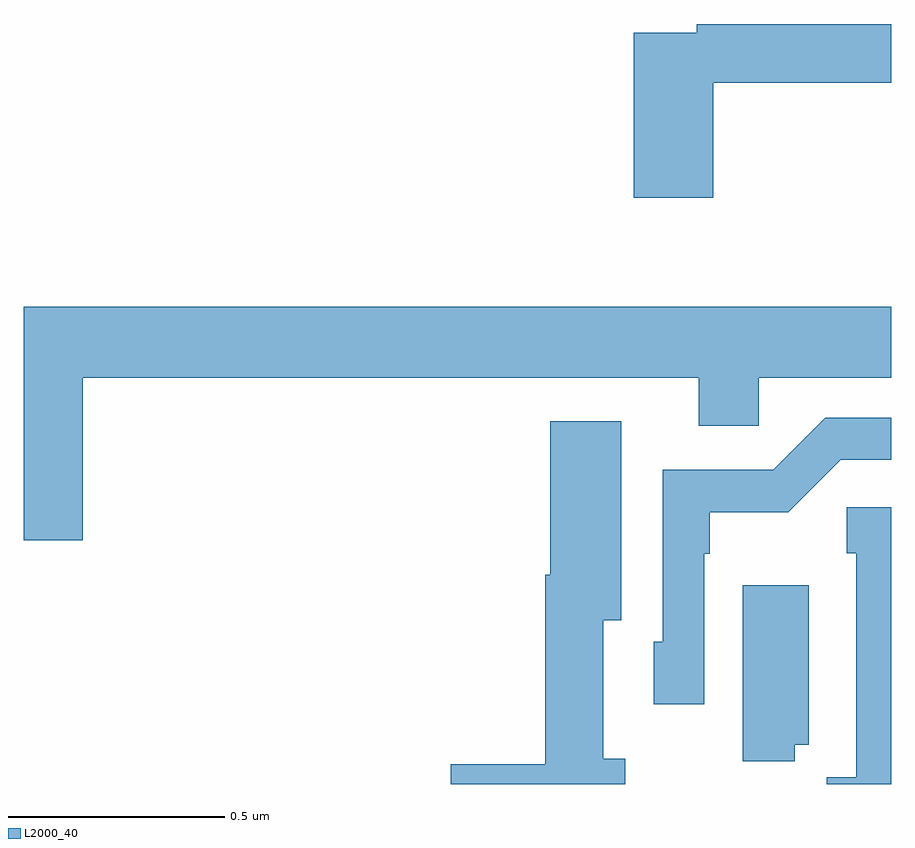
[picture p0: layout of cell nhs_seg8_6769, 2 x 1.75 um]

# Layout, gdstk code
import gdstk
lib = gdstk.Library(unit=1e-6, precision=1e-09)
def P(c, l, *ps):  # polygons
    for p in ps: c.add(gdstk.Polygon(p, *l))
L2000_40 = (2000, 40)

nhs_seg8_6769 = lib.new_cell('nhs_seg8_6769')
P(nhs_seg8_6769, L2000_40, [(202.589,1114.516),(203,1114.516),(203,1114.652),(202.552,1114.652),(202.552,1114.632),(202.406,1114.632),(202.406,1114.251),(202.589,1114.251)],
  [(201.136,1113.836),(202.556,1113.836),(202.556,1113.726),(202.695,1113.726),(202.695,1113.836),(203,1113.836),(203,1114),(201,1114),(201,1113.462),(201.136,1113.462)],
  [(202.569,1113.431),(202.582,1113.431),(202.582,1113.527),(202.763,1113.527),(202.884,1113.648),(203,1113.648),(203,1113.744),(202.848,1113.744),(202.728,1113.624),(202.473,1113.624),(202.473,1113.228),(202.452,1113.228),(202.452,1113.084),(202.569,1113.084)],
  [(202.387,1112.958),(202.336,1112.958),(202.336,1113.278),(202.378,1113.278),(202.378,1113.736),(202.214,1113.736),(202.214,1113.382),(202.202,1113.382),(202.202,1112.945),(201.984,1112.945),(201.984,1112.9),(202.387,1112.9)],
  [(203,1113.538),(202.897,1113.538),(202.897,1113.432),(202.919,1113.432),(202.919,1112.916),(202.851,1112.916),(202.851,1112.9),(203,1112.9)],
  [(202.778,1112.99),(202.81,1112.99),(202.81,1113.358),(202.658,1113.358),(202.658,1112.953),(202.778,1112.953)])

lib.write_gds('nhs_seg8_6769.gds')
